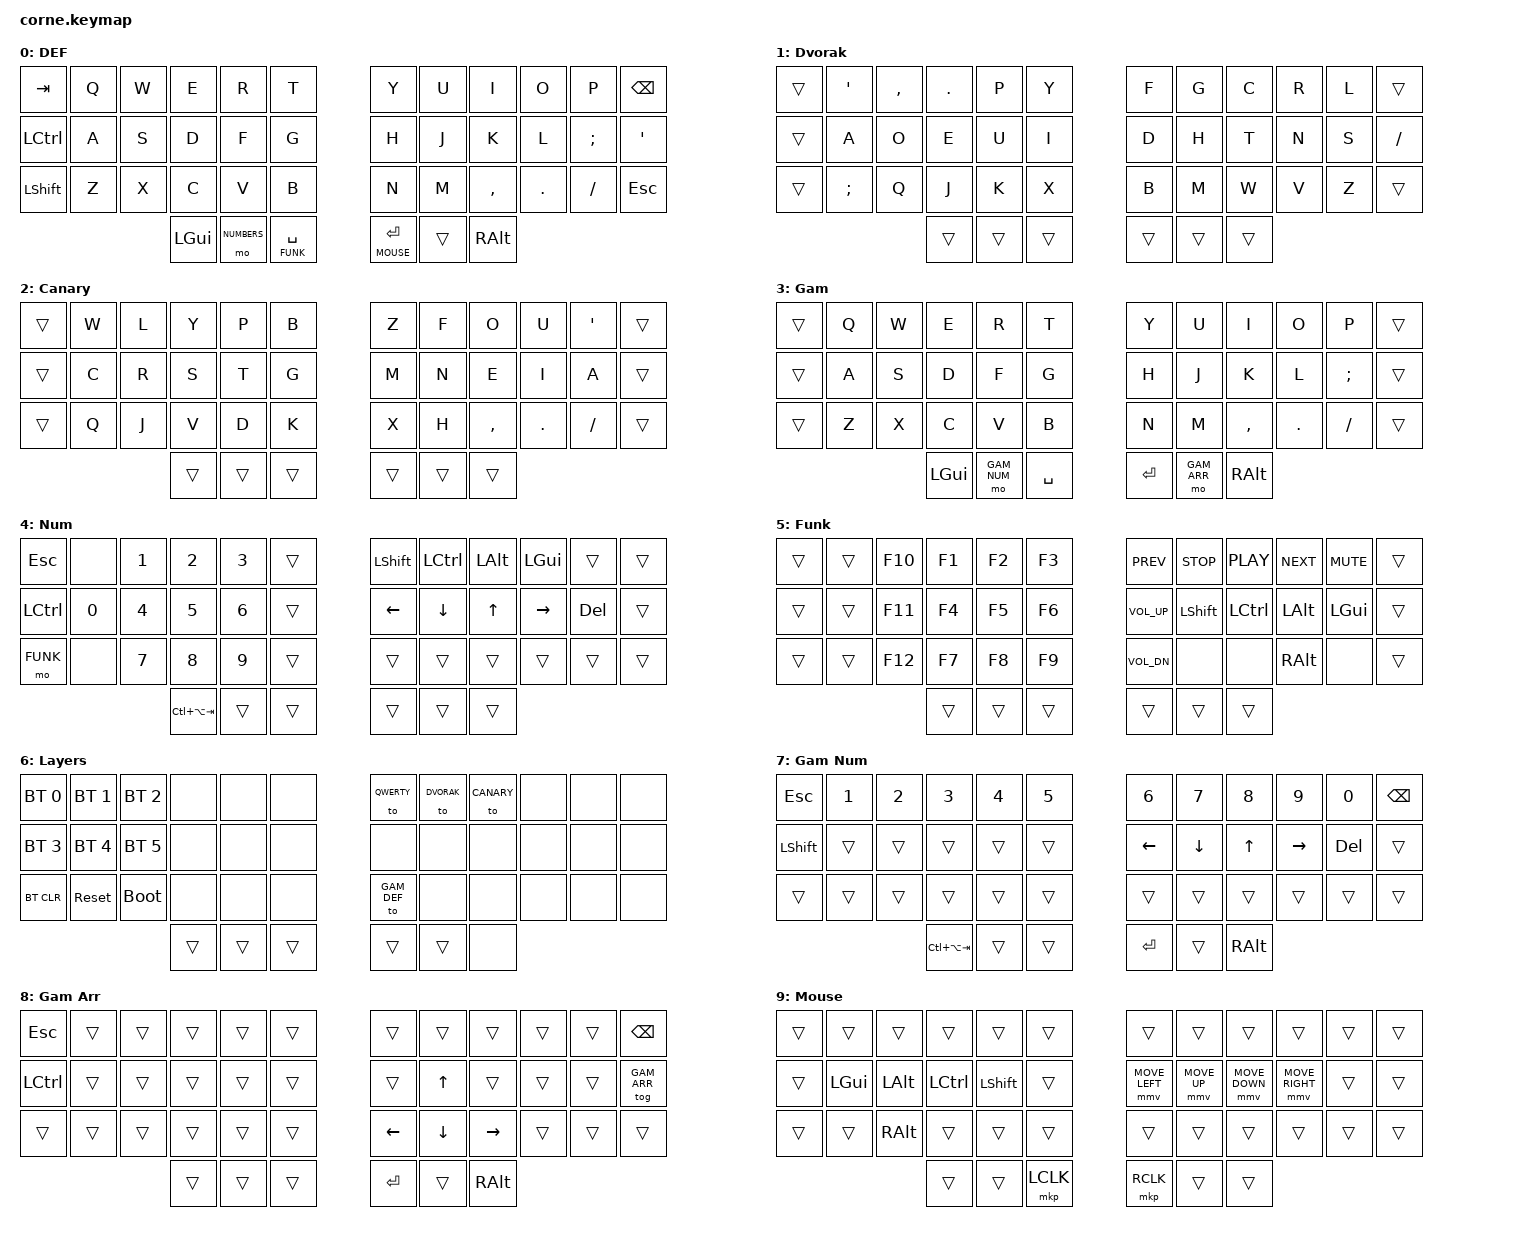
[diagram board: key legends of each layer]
/*
 * Copyright (c) 2020 The ZMK Contributors
 *
 * SPDX-License-Identifier: MIT
 */

#include <behaviors.dtsi>
#include <dt-bindings/zmk/bt.h>
#include <dt-bindings/zmk/keys.h>
#include <dt-bindings/zmk/mouse.h>

#include "shared.dtsi"
#include "combos.dtsi"

/* Key Positions
╭────────────────────────╮ ╭────────────────────────╮
│  0   1   2   3   4   5 │ │  6   7   8   9  10  11 │
│ 12  13  14  15  16  17 │ │ 18  19  20  21  22  23 │
│ 24  25  26  27  28  29 │ │ 30  31  32  33  34  35 │
╰───────────╮ 36  37  38 │ │ 39  40  41 ╭───────────╯
            ╰────────────╯ ╰────────────╯
*/

/ {
    keymap {
        compatible = "zmk,keymap";

        /* QWERTY 1 */
        qwerty {
            display-name = "DEF";
            bindings = <
&kp   TAB  &kp Q  &kp W  &kp    E  &kp       R  &kp     T         &kp     Y      &kp  U  &kp     I  &kp   O  &kp    P  &kp BSPC
&kp LCTRL  &kp A  &kp S  &kp    D  &kp       F  &kp     G         &kp     H      &kp  J  &kp     K  &kp   L  &kp SEMI  &kp SQT
&kp LSHFT  &kp Z  &kp X  &kp    C  &kp       V  &kp     B         &kp     N      &kp  M  &kp COMMA  &kp DOT  &kp FSLH  &kp ESC
                         &kp LGUI  &mo NUMBERS  &lt FUNK SPACE    &lt MOUSE RET  &trans  &kp RALT
            >;
        };

        dvorak {
            display-name = "Dvorak";
            bindings = <
&trans  &kp  SQT &kp COMMA  &kp DOT  &kp  P  &kp  Y    &kp  F  &kp  G  &kp C  &kp R &kp L &trans
&trans  &kp    A &kp     O  &kp   E  &kp  U  &kp  I    &kp  D  &kp  H  &kp T  &kp N &kp S &kp  FSLH
&trans  &kp SEMI &kp     Q  &kp   J  &kp  K  &kp  X    &kp  B  &kp  M  &kp W  &kp V &kp Z &trans
                            &trans   &trans  &trans    &trans  &trans  &trans
            >;
        };

        canary {
            display-name = "Canary";
            bindings = <
&trans  &kp W  &kp L  &kp Y   &kp  P  &kp B     &kp Z   &kp F   &kp    O  &kp   U  &kp   SQT  &trans
&trans  &kp C  &kp R  &kp S   &kp  T  &kp G     &kp M   &kp N   &kp    E  &kp   I  &kp     A  &trans
&trans  &kp Q  &kp J  &kp V   &kp  D  &kp K     &kp X   &kp H   &kp CMMA  &kp DOT  &kp  FSLH  &trans
                      &trans  &trans  &trans    &trans  &trans  &trans
            >;
        };

        /* GAMES 2 */
        gam {
            display-name = "Gam";
            bindings = <
&trans  &kp Q  &kp W  &kp    E     &kp    R     &kp     T    &kp   Y  &kp       U  &kp     I  &kp   O  &kp    P  &trans
&trans  &kp A  &kp S  &kp    D     &kp    F     &kp     G    &kp   H  &kp       J  &kp     K  &kp   L  &kp SEMI  &trans
&trans  &kp Z  &kp X  &kp    C     &kp    V     &kp     B    &kp   N  &kp       M  &kp COMMA  &kp DOT  &kp FSLH  &trans
                      &kp LGUI     &mo GAM_NUM  &kp SPACE    &kp RET  &mo GAM_ARR  &kp  RALT
            >;
        };

        /* NUMBERS 4 */
        numbers {
            display-name = "Num";
            bindings = <
&kp   ESC  &none   &kp N1  &kp          N2  &kp N3  &trans    &kp LSHIFT  &kp LCTRL  &kp LALT  &kp  LGUI  &trans   &trans
&kp LCTRL  &kp N0  &kp N4  &kp          N5  &kp N6  &trans    &kp   LEFT  &kp  DOWN  &kp   UP  &kp RIGHT  &kp DEL  &trans
&mo FUNK   &none   &kp N7  &kp          N8  &kp N9  &trans    &trans      &trans     &trans    &trans     &trans   &trans
                           &kp LC(LA(TAB))  &trans  &trans    &trans      &trans     &trans
            >;
        };

        /* FUNK 6 */
        funk {
            display-name = "Funk";
            bindings = <
&trans  &trans  &kp F10  &kp F1  &kp F2  &kp F3    &kp   C_PREV  &kp C_STOP  &kp C_PLAY  &kp C_NEXT  &kp C_MUTE  &trans
&trans  &trans  &kp F11  &kp F4  &kp F5  &kp F6    &kp C_VOL_UP  &kp LSHIFT  &kp  LCTRL  &kp   LALT  &kp   LGUI  &trans
&trans  &trans  &kp F12  &kp F7  &kp F8  &kp F9    &kp C_VOL_DN  &none       &none       &kp   RALT  &none       &trans
                         &trans  &trans  &trans    &trans        &trans      &trans
            >;
        };

        /* LAYERS 0 */
        layers {
            display-name = "Layers";
            bindings = <
&bt BT_SEL 0 &bt BT_SEL 1 &bt BT_SEL 2 &none   &none   &none     &to QWERTY  &to DVORAK  &to CANARY  &none  &none  &none
&bt BT_SEL 3 &bt BT_SEL 4 &bt BT_SEL 5 &none   &none   &none     &none       &none       &none       &none  &none  &none
&bt BT_CLR   &sys_reset   &bootloader  &none   &none   &none     &to GAM_DEF &none       &none       &none  &none  &none
                                       &trans  &trans  &trans    &trans      &trans      &none
            >;
        };

        /* GAMES_NUMBERS */
        gam_num {
            display-name = "Gam Num";
            bindings = <
&kp ESC    &kp N1  &kp N2  &kp N3           &kp N4  &kp N5    &kp   N6  &kp   N7  &kp   N8  &kp    N9  &kp  N0  &kp BSPC
&kp LSHFT  &trans  &trans  &trans           &trans  &trans    &kp LEFT  &kp DOWN  &kp   UP  &kp RIGHT  &kp DEL  &trans
&trans     &trans  &trans  &trans           &trans  &trans    &trans    &trans    &trans    &trans     &trans   &trans
                           &kp LC(LA(TAB))  &trans  &trans    &kp  RET  &trans    &kp RALT
            >;
        };

        /* GAMES_ARR */
        gam_arr {
            display-name = "Gam Arr";
            bindings = <
&kp   ESC  &trans  &trans  &trans  &trans  &trans    &trans    &trans    &trans    &trans  &trans  &kp     BSPC
&kp LCTRL  &trans  &trans  &trans  &trans  &trans    &trans    &kp   UP  &trans    &trans  &trans  &tog GAM_ARR
&trans     &trans  &trans  &trans  &trans  &trans    &kp LEFT  &kp DOWN  &kp RIGHT &trans  &trans  &trans
                           &trans  &trans  &trans    &kp  RET  &trans    &kp  RALT
            >;
        };

        /*  MOUSE 9 */
        mouse {
            display-name = "Mouse";
            bindings = <
&trans &trans    &trans   &trans    &trans     &trans       &trans          &trans        &trans          &trans           &trans  &trans
&trans &kp LGUI  &kp LALT &kp LCTRL &kp LSHIFT &trans       &mmv MOVE_LEFT  &mmv MOVE_UP  &mmv MOVE_DOWN  &mmv MOVE_RIGHT  &trans  &trans
&trans &trans    &kp RALT &trans    &trans     &trans       &trans          &trans        &trans          &trans           &trans  &trans
                          &trans    &trans     &mkp LCLK    &mkp RCLK       &trans        &trans
            >;
        };
    };
};
